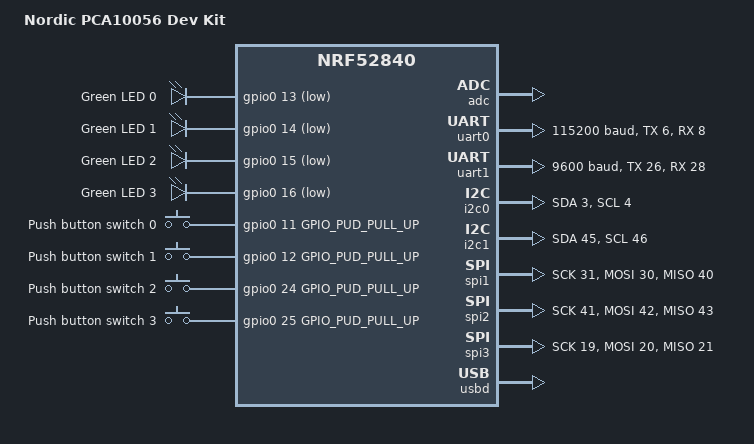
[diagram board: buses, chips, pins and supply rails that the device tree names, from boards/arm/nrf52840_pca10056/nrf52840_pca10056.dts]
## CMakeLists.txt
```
cmake_minimum_required(VERSION 3.8.2)
# Re-direct the directory where the 'boards' directory is found from
# $ZEPHYR_BASE to this directory.
set(BOARD_ROOT ${CMAKE_CURRENT_LIST_DIR})

set(BOARD nrf52840_pca10056)
add_definitions(-DNRFX_PDM_ENABLED=1)
include($ENV{ZEPHYR_BASE}/cmake/app/boilerplate.cmake NO_POLICY_SCOPE)
project(NONE)

# Add all our sources
FILE(GLOB app_sources src/*.c src/mesh/*.c src/bling/*.c src/drivers/ff_i2c.c)
target_sources(app PRIVATE ${app_sources})

# Conditionally add the drivers
zephyr_library_sources_ifdef(CONFIG_AT24C02 src/drivers/at24c02.c)
zephyr_library_sources_ifdef(CONFIG_IQS333 src/drivers/iqs333.c)
zephyr_library_sources_ifdef(CONFIG_IS31FL3741	src/drivers/is31fl3741.c)
zephyr_library_sources_ifdef(CONFIG_FANCYFEAST_USB_MASS_STORAGE	src/drivers/usb_msc.c)
zephyr_library_sources_ifdef(CONFIG_SPI_FLASH_W25QXXDV src/drivers/spi_nor_reset.c)

#Manually add in the PDM driver since Zephyr doesn't quite support this
#zephyr_sources_ifdef(CONFIG_NRFX_PDM    $ENV{ZEPHYR_BASE}/ext/hal/nordic/nrfx/drivers/src/nrfx_pdm.c)

# Add custom target to generate mcuboot image
add_custom_target(sign_bin ../../mcuboot/scripts/imgtool.py sign -k ../../mcuboot/root-rsa-2048.pem --align 8 -H 0x200 --version 23 -S 0xcc000 zephyr/zephyr.bin andnxor_dc27_signed.bin)
add_custom_target(sign arm-none-eabi-objcopy --change-address 0xd000 -I binary -O ihex andnxor_dc27_signed.bin andnxor_dc27_signed.hex)
add_dependencies(sign sign_bin)

# Add custom targets to flash bootloader and signed image
add_custom_target(flash_bootloader nrfjprog --sectorerase --program ../../../provision/fancyfeast_bootloader.hex -f nrf52)
add_custom_target(flash_signed nrfjprog --sectorerase --program andnxor_dc27_signed.hex -f nrf52 -r)
add_custom_target(flash_ocd_signed ../../../tools/openocd/ocd-flash.sh andnxor_dc27_signed.hex)
add_custom_target(kanye nrfjprog --sectorerase --program zephyr/zephyr.hex -f nrf52 -r)
add_custom_target(gdb_server JLinkGDBServer -device NRF52 -if SWD -speed 1000)
add_custom_target(gdb echo "RUN THIS:     arm-none-eabi-gdb -ex "target remote localhost:2331" --se=zephyr/zephyr.elf")
```

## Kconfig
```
mainmenu "AND!XOR DC27 Fancy Feast"

# Your application configuration options go here

menu "AND!XOR"
rsource "src/Kconfig"
rsource "src/drivers/Kconfig"
rsource "src/mesh/Kconfig"
endmenu

# Sources Kconfig.zephyr in the Zephyr root directory.
#
# Note: All 'source' statements work relative to the Zephyr root directory (due
# to the $srctree environment variable being set to $ZEPHYR_BASE). If you want
# to 'source' relative to the current Kconfig file instead, use 'rsource' (or a
# path relative to the Zephyr root).
source "Kconfig.zephyr"
```

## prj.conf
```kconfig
CONFIG_LOG=y
CONFIG_LOG_BACKEND_UART=n
CONFIG_LOG_BUFFER_SIZE=5000
CONFIG_LOG_CMDS=n
CONFIG_LOG_DEFAULT_LEVEL=4
# CONFIG_LOG_INPLACE_PROCESS=n
CONFIG_LOG_PRINTK=y
CONFIG_LOG_ENABLE_FANCY_OUTPUT_FORMATTING=y
# Disable shell control of logs
CONFIG_LOG_RUNTIME_FILTERING=n
CONFIG_USE_SEGGER_RTT=y

CONFIG_BASE64=y
#Needed for mcumgr shell
CONFIG_PRINTK=y
# CONFIG_SHELL_PRINTF_BUFF_SIZE=128
CONFIG_SHELL=y
CONFIG_SHELL_ARGC_MAX=66
CONFIG_SHELL_BACKEND_SERIAL=y
CONFIG_SHELL_BACKEND_SERIAL_LOG_LEVEL_NONE=y
CONFIG_SHELL_BACKEND_SERIAL_RX_RING_BUFFER_SIZE=256
# CONFIG_SHELL_BACKEND_SERIAL_TX_RING_BUFFER_SIZE=1200
CONFIG_SHELL_CMD_BUFF_SIZE=1024
CONFIG_SHELL_CMDS=n
CONFIG_SHELL_CMDS_RESIZE=n
CONFIG_SHELL_PRINTF_BUFF_SIZE=256
CONFIG_SHELL_STACK_SIZE=6000
CONFIG_SHELL_VT100_COLORS=y
CONFIG_SHELL_WILDCARD=n

# CONFIG_OBJECT_TRACING=y
CONFIG_THREAD_MONITOR=y
CONFIG_THREAD_NAME=y
CONFIG_INIT_STACKS=y
CONFIG_THREAD_STACK_INFO=y
CONFIG_BOOT_BANNER=n
CONFIG_BOOTLOADER_MCUBOOT=y
CONFIG_IMG_MANAGER=n

# Kernel Settings
CONFIG_CLOCK_CONTROL_NRF_K32SRC_RC=y
CONFIG_HEAP_MEM_POOL_SIZE=2048
CONFIG_MAIN_STACK_SIZE=4096
CONFIG_SYSTEM_WORKQUEUE_STACK_SIZE=2048
CONFIG_SYS_CLOCK_TICKS_PER_SEC=1000
CONFIG_ENTROPY_NRF5_RNG=y
CONFIG_STATS=y
CONFIG_STATS_NAMES=y
CONFIG_POSIX_API=y
CONFIG_DEVICE_SHELL=n
CONFIG_KERNEL_LOG_LEVEL_OFF=y
CONFIG_KERNEL_SHELL=nfull_path
CONFIG_SCHED_MULTIQ=n
CONFIG_HW_STACK_PROTECTION=n

CONFIG_GPIO=y

#USB related configs
# CONFIG_USB=y
# CONFIG_USB_COMPOSITE_DEVICE=n
# CONFIG_USB_DEVICE_OS_DESC=n
# CONFIG_USB_DEVICE_SOF=n
# CONFIG_USB_DEVICE_STACK=y
# CONFIG_USB_DEVICE_VID=0x049E
# CONFIG_USB_DEVICE_PID=0x1B00
# CONFIG_USB_DEVICE_MANUFACTURER="AND!XOR LLC"
# CONFIG_USB_DEVICE_PRODUCT="AND!XOR Fancy Feast"
# CONFIG_USB_DEVICE_SN="XXXXYYYYZZZZAAAAvVVVV"
# CONFIG_USB_CDC_ACM=n
# CONFIG_USB_DFU_CLASS=y
# CONFIG_CDC_ACM_PORT_NAME="CDC_ACM"
# CONFIG_CDC_ACM_INTERRUPT_EP_MPS=16
# CONFIG_CDC_ACM_BULK_EP_MPS=64

CONFIG_UART_INTERRUPT_DRIVEN=n
CONFIG_UART_LINE_CTRL=y

CONFIG_FLASH=y
CONFIG_FLASH_PAGE_LAYOUT=y
CONFIG_FLASH_MAP=y

# File System
CONFIG_FILE_SYSTEM=y
CONFIG_FILE_SYSTEM_NFFS=y
CONFIG_FILE_SYSTEM_SHELL=n
CONFIG_FAT_FILESYSTEM_ELM=n
CONFIG_FS_LOG_LEVEL_DBG=y
CONFIG_FS_NFFS_FLASH_DEV_NAME="NRF_FLASH_DRV_NAME"

# USB Mass storage
# CONFIG_USB_MASS_STORAGE=y
# CONFIG_MASS_STORAGE_DISK_NAME="NAND"
# CONFIG_USB_MASS_STORAGE_LOG_LEVEL_DBG=y
# CONFIG_MASS_STORAGE_BULK_EP_MPS=64

#Bluetooth
CONFIG_BT=y
CONFIG_BT_ATT_PREPARE_COUNT=2
CONFIG_BT_BROADCASTER=y
CONFIG_BT_CTLR_ADV_EXT=y
CONFIG_BT_CTLR_COMPANY_ID=0x049E
CONFIG_BT_CTLR_DUP_FILTER_LEN=0
CONFIG_BT_CTLR_LE_ENC=n
CONFIG_BT_CTLR_LE_PING=n
CONFIG_BT_CTLR_MIN_USED_CHAN=n
CONFIG_BT_CTLR_PRIVACY=n
CONFIG_BT_CTLR_RX_BUFFERS=6
CONFIG_BT_CTLR_TX_BUFFERS=6
CONFIG_BT_DEBUG_GATT=n
CONFIG_BT_DEBUG_L2CAP=n
CONFIG_BT_DEBUG_LOG=y
CONFIG_BT_DEVICE_NAME="AND!XOR"
CONFIG_BT_HCI=y
CONFIG_BT_HCI_CMD_COUNT=4
CONFIG_BT_HCI_HOST=y
# CONFIG_BT_L2CAP_RX_MTU=69
CONFIG_BT_L2CAP_TX_MTU=260
CONFIG_BT_L2CAP_TX_BUF_COUNT=8
CONFIG_BT_MAX_CONN=1
CONFIG_BT_OBSERVER=y
CONFIG_BT_PERIPHERAL=y
CONFIG_BT_RX_BUF_COUNT=30
CONFIG_BT_RX_BUF_LEN=260
CONFIG_BT_RX_STACK_SIZE=4096
# CONFIG_BT_SETTINGS=y
# CONFIG_BT_SHELL=y

#Bluetooth mesh
CONFIG_BT_MESH=y
CONFIG_BT_MESH_ADV_BUF_COUNT=40
CONFIG_BT_MESH_APP_KEY_COUNT=2
CONFIG_BT_MESH_CFG_CLI=y
CONFIG_BT_MESH_GATT_PROXY=n
CONFIG_BT_MESH_HEALTH_CLI=y
CONFIG_BT_MESH_LABEL_COUNT=3
CONFIG_BT_MESH_MODEL_GROUP_COUNT=2
CONFIG_BT_MESH_MODEL_KEY_COUNT=2
CONFIG_BT_MESH_PB_ADV=n
CONFIG_BT_MESH_PB_GATT=n
CONFIG_BT_MESH_PROXY=n
CONFIG_BT_MESH_RELAY=y
CONFIG_BT_MESH_RX_SDU_MAX=384
CONFIG_BT_MESH_RX_SEG_MSG_COUNT=3
CONFIG_BT_MESH_TX_SEG_MSG_COUNT=3
# SDU is 12 * CONFIG_BT_MESH_TX_SEG_MAX
CONFIG_BT_MESH_TX_SEG_MAX=32
# CONFIG_BT_MESH_SHELL=y
CONFIG_BT_MESH_SUBNET_COUNT=5


# Mesh Debug + Use ID required so MAC is not randomized (at the expense of privacy)
CONFIG_BT_MESH_DEBUG=y
CONFIG_BT_MESH_DEBUG_USE_ID_ADDR=y
# CONFIG_BT_MESH_DEBUG_PROXY=y
# Mesh access debug is the useful one for debugging models
# CONFIG_BT_MESH_DEBUG_ACCESS=y
# CONFIG_BT_MESH_DEBUG_PROV=y
# CONFIG_BT_MESH_DEBUG_BEACON=y
#These generate a TON of logs
# CONFIG_BT_MESH_DEBUG_NET=y
# CONFIG_BT_MESH_DEBUG_TRANS=y
# CONFIG_BT_MESH_DEBUG_SETTINGS=y
# CONFIG_BT_MESH_DEBUG_LOW_POWER=y
# CONFIG_BT_MESH_DEBUG_FRIEND=y
# CONFIG_BT_MESH_DEBUG_MODEL=y
# CONFIG_BT_MESH_DEBUG_CRYPTO=y
# CONFIG_BT_MESH_DEBUG_ADV=y
# CONFIG_BT_MESH_SELF_TEST=y

#I2C
CONFIG_I2C=y
CONFIG_I2C_0=y
CONFIG_I2C_1=y
CONFIG_I2C_NRFX=y
CONFIG_I2C_LOG_LEVEL_OFF=y

# Enable some crypto
CONFIG_MBEDTLS=y

# Enable mcumgr.
CONFIG_MCUMGR=y
CONFIG_MCUMGR_CMD_FS_MGMT=y
CONFIG_MCUMGR_CMD_IMG_MGMT=y
CONFIG_MCUMGR_CMD_OS_MGMT=y
CONFIG_MCUMGR_CMD_STAT_MGMT=y
CONFIG_MCUMGR_SMP_BT=y
# Can't enable until SMP moves to new shell (currently on legacy)
CONFIG_MCUMGR_SMP_SHELL=y
# CONFIG_UART_CONSOLE_MCUMGR=y
# CONFIG_SYSTEM_WORKQUEUE_STACK_SIZE=2048
# MCUMGR Bluetooth support requires a net_buf user_data size >= 7.
CONFIG_NET_BUF_USER_DATA_SIZE=7

# Required by the `taskstat` command.
CONFIG_THREAD_MONITOR=y

#Bloomberg
CONFIG_UART_1_NRF_UARTE=y

#FANCY FEAST Custom Config
CONFIG_AT24C02=y
CONFIG_IQS333=y
CONFIG_LED_RGB_WIDTH=13
CONFIG_LED_RGB_HEIGHT=9
CONFIG_LED_BRIGHTNESS_DEFAULT=50
CONFIG_IS31FL3741=yLOG_
CONFIG_IS31FL3741_SDB_PIN=30
CONFIG_IS31FL3741_I2C_MASTER_DEV_NAME="I2C_1"
CONFIG_CRON_JERB_INTERVAL=70000
CONFIG_ANDNXOR_BLING_TTL=0
CONFIG_ANDNXOR_SOCIAL_TTL=0
CONFIG_ANDNXOR_SPI_NOR=y
```

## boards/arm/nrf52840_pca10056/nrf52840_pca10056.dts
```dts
/*
 * Copyright (c) 2017 Linaro Limited
 *
 * SPDX-License-Identifier: Apache-2.0
 */

/dts-v1/;
#include <nordic/nrf52840_qiaa.dtsi>

/ {
	model = "Nordic PCA10056 Dev Kit";
	compatible = "nordic,pca10056-dk", "nordic,nrf52840-qiaa",
		     "nordic,nrf52840";

	chosen {
		zephyr,console = &uart0;
		zephyr,shell-uart = &uart0;
		zephyr,uart-mcumgr = &uart0;
		zephyr,sram = &sram0;
		zephyr,flash = &flash0;
		zephyr,code-partition = &slot0_partition;
	};

	leds {
		compatible = "gpio-leds";
		led0: led_0 {
			gpios = <&gpio0 13 GPIO_INT_ACTIVE_LOW>;
			label = "Green LED 0";
		};
		led1: led_1 {
			gpios = <&gpio0 14 GPIO_INT_ACTIVE_LOW>;
			label = "Green LED 1";
		};
		led2: led_2 {
			gpios = <&gpio0 15 GPIO_INT_ACTIVE_LOW>;
			label = "Green LED 2";
		};
		led3: led_3 {
			gpios = <&gpio0 16 GPIO_INT_ACTIVE_LOW>;
			label = "Green LED 3";
		};
	};

	buttons {
		compatible = "gpio-keys";
		button0: button_0 {
			gpios = <&gpio0 11 GPIO_PUD_PULL_UP>;
			label = "Push button switch 0";
		};
		button1: button_1 {
			gpios = <&gpio0 12 GPIO_PUD_PULL_UP>;
			label = "Push button switch 1";
		};
		button2: button_2 {
			gpios = <&gpio0 24 GPIO_PUD_PULL_UP>;
			label = "Push button switch 2";
		};
		button3: button_3 {
			gpios = <&gpio0 25 GPIO_PUD_PULL_UP>;
			label = "Push button switch 3";
		};
	};

	/* These aliases are provided for compatibility with samples */
	aliases {
		led0 = &led0;
		led1 = &led1;
		led2 = &led2;
		led3 = &led3;
		sw0 = &button0;
		sw1 = &button1;
		sw2 = &button2;
		sw3 = &button3;
	};
};

&adc {
	status ="ok";
};

&gpiote {
	status ="ok";
};

&gpio0 {
	status ="ok";
};

&gpio1 {
	status ="ok";
};

&uart0 {
	compatible = "nordic,nrf-uart";
	current-speed = <115200>;
	status = "ok";
	tx-pin = <6>;
	rx-pin = <8>;
	rts-pin = <5>;
	cts-pin = <7>;
};

&uart1 {
	compatible = "nordic,nrf-uarte";
	current-speed = <9600>;
	status = "ok";
	tx-pin = <26>;
	rx-pin = <28>;
};

&i2c0 {
	status = "ok";
	sda-pin = <3>;
	scl-pin = <4>;
};

&i2c1 {
	status = "ok";
	sda-pin = <45>;
	scl-pin = <46>;
};

&spi0 {
	status = "disabled";
	sck-pin = <27>;
	mosi-pin = <26>;
	miso-pin = <29>;
};

&spi1 {
	/*status = "ok";*/
	sck-pin = <31>;
	mosi-pin = <30>;
	miso-pin = <40>;
};

&spi2 {
	status = "ok";
	sck-pin = <41>;
	mosi-pin = <42>;
	miso-pin = <43>;
};

&spi3 {
	/*status = "ok";*/
	sck-pin = <19>;
	mosi-pin = <20>;
	miso-pin = <21>;
	cs-gpios = <&gpio0 17 0>;
};

&flash0 {
	/*
	 * For more information, see:
	 * http://docs.zephyrproject.org/latest/guides/dts/index.html#flash-partitions
	 */
	partitions {
		compatible = "fixed-partitions";
		#address-cells = <1>;
		#size-cells = <1>;

		boot_partition: partition@0 {
			label = "mcuboot";
			reg = <0x000000000 0x0000D000>;
		};
		slot0_partition: partition@d000 {
			label = "image-0";
			reg = <0x0000D000 0x0000CC000>;
		};
		slot1_partition: partition@d9000 {
			label = "image-1";
			reg = <0x000D9000 0x000001000>;
		};
		scratch_partition: partition@da000 {
			label = "image-scratch";
			reg = <0x000DA000 0x0001E000>;
		};

		/*
		 * The flash starting at 0x000f8000 and ending at
		 * 0x000fffff is reserved for use by the application.
		 */

		/* Storage partition will be used by FCB/NFFS/NVS if enabled. */
		storage_partition: partition@f8000 {
			label = "storage";
			reg = <0x000f8000 0x00008000>;
		};
	};
};

&usbd {
	compatible = "nordic,nrf-usbd";
	status = "ok";
};
```

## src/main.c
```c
/*****************************************************************************
 * Made with beer and late nights in California.
 *
 * (C) Copyright 2017-2019 AND!XOR LLC (https://andnxor.com/).
 *
 * PROPRIETARY AND CONFIDENTIAL UNTIL AUGUST 11th, 2019 then,
 *
 * Licensed under the Apache License, Version 2.0 (the "License");
 * you may not use this file except in compliance with the License.
 * You may obtain a copy of the License at
 *
 *     http://www.apache.org/licenses/LICENSE-2.0
 *
 * Unless required by applicable law or agreed to in writing, software
 * distributed under the License is distributed on an "AS IS" BASIS,
 * WITHOUT WARRANTIES OR CONDITIONS OF ANY KIND, either express or implied.
 * See the License for the specific language governing permissions and
 * limitations under the License.
 *
 * ADDITIONALLY:
 * If you find this source code useful in anyway, use it in another electronic
 * conference badge, or just think it's neat. Consider buying us a beer
 * (or two) and/or a badge (or two). We are just as obsessed with collecting
 * badges as we are in making them.
 *
 * Contributors:
 * 	@andnxor
 * 	@zappbrandnxor
 * 	@hyr0n1
 * 	@bender_andnxor
 * 	@lacosteaef
 *  @f4nci3
 *  @Cr4bf04m
 *****************************************************************************/
#include <stdio.h>

#include "nrf52840.h"
// #include "nrfx_power.h"
#include <gpio.h>
#include <posix/time.h>
#include <settings/settings.h>
#include <zephyr.h>
#define LOG_LEVEL 4
#include <logging/log.h>
LOG_MODULE_REGISTER(ff_main);

#include "ff_badgebus.h"
#include "ff_bender.h"
#include "ff_bling.h"
#include "ff_gfx.h"
#include "ff_post.h"
#include "ff_settings.h"
#include "ff_shell.h"
#include "ff_time.h"
#include "ff_ui.h"
#include "ff_util.h"
#include "mesh/ff_mesh.h"
#include "mesh/ff_mesh_model_status.h"
#include "system.h"

struct device *gpio;

void main() {
  // Grab GPIO device
  gpio = device_get_binding(SW0_GPIO_CONTROLLER);
  if (!gpio) {
    LOG_ERR("Unable to grab GPIO0 Controller");
    return;
  }

  // Set LEDs as output
  gpio_pin_configure(gpio, LED0_GPIO_PIN, GPIO_DIR_OUT);
  // Turn on to indicate booting
  gpio_pin_write(gpio, LED0_GPIO_PIN, 1);

  // Init BENDER before settings
  ff_bender_init();
  ff_settings_init();

  // Do normal stuff
  ff_gfx_init();
  ff_util_mcumgr_init();

  // Print POST status
  ff_post_dump();

  // Init bling
  ff_bling_init();

  // Run startup script
  ff_shell_rc();

  ////////////////////////////// BADGE IS READY //////////////////////////////

  LOG_INF("AND!XOR DC27 Started %s [%s]", VERSION, BUILD_TIMESTAMP);

  // Turn off to indicate ready
  k_sleep(2000);
  gpio_pin_write(gpio, LED0_GPIO_PIN, 0);

  uint8_t counter = 0;
  while (1) {
    if (ff_post_state_get() != FF_POST_DEFAULT) {
      gpio_pin_write(gpio, LED0_GPIO_PIN, counter % 2);
      k_sleep(100);
    } else {
      // Ensure status LED is off
      gpio_pin_write(gpio, LED0_GPIO_PIN, 0);
      k_sleep(1000);
    }

    counter++;

#ifdef CONFIG_ANDNXOR_TEST_FIRMWARE
  switch(counter % 3) {
    case 0:
    ff_gfx_fill(COLOR_RED);
    ff_gfx_push_buffer();
    break;
    case 1:
    ff_gfx_fill(COLOR_GREEN);
    ff_gfx_push_buffer();
    break;
    case 2:
    ff_gfx_fill(COLOR_BLUE);
    ff_gfx_push_buffer();
    break;
  }
#endif
  }
}

/*
 * Default USB SN string descriptor is CONFIG_USB_DEVICE_SN, but sometimes
 * we want use another string as SN descriptor such as the chip's unique
 * ID. So user can implement this function return a string thats will be
 * replaced the default SN.
 * Please note that the new SN descriptor you changed must has same length
 * as CONFIG_USB_DEVICE_SN.
 */
u8_t *usb_update_sn_string_descriptor(void) {
  uint32_t a0 = NRF_FICR->DEVICEID[0];
  uint32_t a1 = NRF_FICR->DEVICEID[1];
  static char sn[22];
  sprintf(sn, "%08x%08xv%04d", a0, a1, VERSION_INT);
  return sn;
}
```

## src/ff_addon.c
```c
/*****************************************************************************
 * Made with beer and late nights in California.
 *
 * (C) Copyright 2017-2019 AND!XOR LLC (https://andnxor.com/).
 *
 * PROPRIETARY AND CONFIDENTIAL UNTIL AUGUST 11th, 2019 then,
 *
 * Licensed under the Apache License, Version 2.0 (the "License");
 * you may not use this file except in compliance with the License.
 * You may obtain a copy of the License at
 *
 *     http://www.apache.org/licenses/LICENSE-2.0
 *
 * Unless required by applicable law or agreed to in writing, software
 * distributed under the License is distributed on an "AS IS" BASIS,
 * WITHOUT WARRANTIES OR CONDITIONS OF ANY KIND, either express or implied.
 * See the License for the specific language governing permissions and
 * limitations under the License.
 *
 * ADDITIONALLY:
 * If you find this source code useful in anyway, use it in another electronic
 * conference badge, or just think it's neat. Consider buying us a beer
 * (or two) and/or a badge (or two). We are just as obsessed with collecting
 * badges as we are in making them.
 *
 * Contributors:
 * 	@andnxor
 * 	@zappbrandnxor
 * 	@hyr0n1
 * 	@bender_andnxor
 * 	@lacosteaef
 *  @f4nci3
 *  @Cr4bf04m
 *****************************************************************************/
#include <stdlib.h>

#include <device.h>
#include <gpio.h>
#include <shell/shell.h>
#include <zephyr.h>

#define LOG_LEVEL 4
#include <logging/log.h>
LOG_MODULE_REGISTER(ff_addon);

#include "autoconf.h"
#include "bling/ff_bling_bouncing.h"
#include "bling/ff_bling_doom.h"
#include "drivers/at24c02.h"
#include "drivers/is31fl3741.h"
#include "ff_addon.h"
#include "ff_gfx.h"
#include "ff_post.h"
#include "ff_settings.h"
#include "ff_shell.h"
#include "ff_unlocks.h"
#include "system.h"

#define ADDON_DELAY 2000
#define SAO_GPIO_PIN_1 31
#define SAO_GPIO_PIN_2 1

typedef enum {
  addon_state_searching,
  addon_state_init,
  addon_state_running,
  addon_state_done
} addon_state_t;

static addon_state_t m_eeprom_state = addon_state_searching;

// Used for toggling LEDs
static uint8_t m_led_counter = 0;

/**
 * @brief Adjust LED brightness in real time until SAO is removed
 */
static void __addon_audio_adjust_gcc() {
  uint8_t value = 0;
  while (1) {
    if (!at24c02_read_byte(&value, 3)) {

      value = MAX(value, 1);
      value = MIN(value, 16) - 7;
      value *= 10;
      value = MAX(value, 10);

      is31fl3741_gcc_set(value);
      // LOG_DBG("Audio: %d", value);
    } else {
      return;
    }
    k_sleep(200); // Be nice?
  }

  // Restore brightness
  is31fl3741_gcc_set(ff_settings_ptr_get()->brightness);
}

/**
 * @brief Shell command that creates an eeprom
 * @return 0 if successful
 */
static inline int __cmd_addon_provision_eeprom(const struct shell *shell,
                                               size_t argc, char **argv) {
  if (argc == 1) {
    shell_error(shell, "Expected EXTRAS CREATE <command>");
    return -EINVAL;
  }

  uint8_t eeprom_contents[AT24C_SIZE];
  memset(eeprom_contents, 0, AT24C_SIZE);
  eeprom_contents[0] = FF_ADDON_MAGIC_BYTE_DEFCON;
  eeprom_contents[1] = FF_ADDON_MAGIC_BYTE_MAKER;
  eeprom_contents[2] = FF_ADDON_MAGIC_BYTE_TYPE_EEPROM;

  shell_print(shell, "Provisioning with command '%s' len=%d", argv[1],
              strlen(argv[1]));

  // We can store a command using remaining bytes (less null character)
  if (strlen(argv[1]) <= (AT24C_SIZE - 3 - 1)) {
    memcpy(eeprom_contents + 3, argv[1], strlen(argv[1]));
  }

  if (at24c02_write_bytes(0x00, eeprom_contents, AT24C_SIZE)) {
    shell_error(shell, "Unable to write to Addon :(");
    return 0;
  }

  // Read back contents
  memset(eeprom_contents, 0, AT24C_SIZE);
  at24c02_read_all(eeprom_contents);
  for (uint16_t i = 0; i < AT24C_SIZE; i++) {
    shell_fprintf(shell, SHELL_VT100_COLOR_MAGENTA, "0x%02x ",
                  eeprom_contents[i]);
  }
  shell_print(shell, "\nAddon provisioned");

  return 0;
}

/**
 * @brief Shell command that sets the GPIO mode for the SAO
 * FORMAT: EXTRAS MODE <int>
 * @return 0 if successful
 */
static inline int __cmd_addon_mode(const struct shell *shell, size_t argc,
                                   char **argv) {
  if (argc != 2) {
    shell_error(
        shell,
        "Invalid argument(s). Expected EXTRAS MODE <mode> (mode = 0 to 5)");
    return -1;
  }

  uint8_t mode = strtol(argv[1], NULL, 10);
  if (mode >= __addon_gpio_mode_counter) {
    shell_error(
        shell,
        "Invalid argument(s). Expected EXTRAS MODE <mode> (mode = 0 to 5)");
    return -1;
  }

  // Change the mode
  ff_settings_ptr_get()->addon_gpio_mode = mode;
  ff_settings_save();

  shell_print(shell, "GPIO mode set to %d", mode);
  return 0;
}

/**
 * @brief Shell command that dumps contents of a connected eeprom
 * FORMAT: EXTRAS READ
 * @return 0 if successful
 */
static inline int __cmd_addon_read_eeprom(const struct shell *shell,
                                          size_t argc, char **argv) {
  if (argc != 1) {
    shell_error(shell, "Invalid Argument(s)");
    return -1;
  }

  // Read full eeprom contents, quit if not found
  uint8_t buf[256];
  if (at24c02_read_all(buf)) {
    shell_error(shell, "EEPROM not found :(");
    return -1;
  }

  // Dump eeprom contents to shell
  for (uint16_t i = 0; i < 256; i += 16) {
    shell_fprintf(shell, SHELL_NORMAL, "%08X  ", i);

    for (uint16_t ii = i; ii < i + 16; ii++) {
      shell_fprintf(shell, SHELL_NORMAL, "%02X ", buf[ii]);
    }

    shell_fprintf(shell, SHELL_NORMAL, "  ");

    for (uint16_t ii = i; ii < i + 16; ii++) {
      shell_fprintf(shell, SHELL_NORMAL, "%c",
                    buf[ii] < 32 || buf[ii] > 127 ? '.' : buf[ii]);
    }

    shell_fprintf(shell, SHELL_NORMAL, "\r\n");
  }

  return 0;
}

/**
 * @brief Shell command that writes an arbitrary byte to the eeprom
 * FORMAT: EXTRAS WRITE <address> <byte hex>
 * @return 0 if successful
 */
static inline int __cmd_addon_write_eeprom(const struct shell *shell,
                                           size_t argc, char **argv) {
  if (argc != 3) {
    shell_error(
        shell,
        "Invalid Argument(s), expected EXTRAS WRITE <address hex> <byte hex>");
    return -1;
  }

  uint8_t address = strtol(argv[1], NULL, 16);
  uint8_t byte = strtol(argv[2], NULL, 16);

  int err = at24c02_write_byte(address, byte);
  if (!err) {
    shell_print(shell, "Wrote 0x%02x to 0x%02x in the EEPROM", byte, address);
  } else {
    shell_error(shell, "Unable to write to EEPROM");
  }
  return err;
}

/**
 * @brief Run a single step in the eeprom state machine
 */
static inline void __state_machine_eeprom() {
  uint8_t magic[3];
  uint8_t eeprom_contents[AT24C_SIZE];

  switch (m_eeprom_state) {
    // Search for eeprom
  case addon_state_searching:
    if (at24c02_read(&magic[0])) {
      // LOG_DBG("Unable to find eeprom, still searching");
    } else {
      LOG_DBG("eeprom found!");

      // Read rest of magic data
      k_sleep(1);
      at24c02_read_byte(&magic[1], 1);
      k_sleep(1);
      at24c02_read_byte(&magic[2], 2);

      LOG_HEXDUMP_DBG(magic, 3, "Magic");

      // If we got this far, magic byte header was found
      // This is an AND!XOR SAO
      if (magic[0] == FF_ADDON_MAGIC_BYTE_DEFCON &&
          magic[1] == FF_ADDON_MAGIC_BYTE_MAKER) {
        switch (magic[2]) {
        case FF_ADDON_MAGIC_BYTE_TYPE_EEPROM:
          LOG_INF("EEPROM SAO Found!");
          LOG_DBG("Switching to init state");
          m_eeprom_state = addon_state_init;

          ff_gfx_draw_line(0, 0, WIDTH, 0, COLOR_ORANGE);
          ff_gfx_draw_line(0, HEIGHT - 1, WIDTH, HEIGHT - 1, COLOR_BLUE);
          ff_gfx_push_buffer();
          k_sleep(200);
          break;
        case FF_ADDON_MAGIC_BYTE_TYPE_AUDIO:
          LOG_INF("Audio Reactive SAO Found!");
          ff_gfx_draw_line(0, 0, WIDTH, 0, COLOR_YELLOW);
          ff_gfx_draw_line(0, HEIGHT - 1, WIDTH, HEIGHT - 1, COLOR_YELLOW);
          ff_gfx_push_buffer();
          k_sleep(200);

          if (!FF_UNLOCK_VALIDATE(FF_UNLOCK_AUDIO)) {
            FF_UNLOCK_SET(FF_UNLOCK_AUDIO);
            FF_BLING_DEFAULT_BOUNCING(bling);
            ff_bling_mode_register(bling, ff_bling_handler_bouncing);
            ff_bling_mode_push(bling);
            ff_gfx_fill(COLOR_YELLOW);
            ff_gfx_push_buffer();
            k_sleep(3000);
          }

          // Block addon thread to adjust gcc in near-realtime
          __addon_audio_adjust_gcc();
          break;
        case FF_ADDON_MAGIC_BYTE_TYPE_BENDER:
          break;
        }
      }

      else if (magic[0] == FF_ADDON_MAGIC_BYTE_DEFCON &&
               magic[1] == FF_ADDON_MAGIC_BYTE_MAKER_CR4BF04M) {
        switch (magic[2]) {
        case FF_ADDON_MAGIC_BYTE_TYPE_DOOM:;
          FF_BLING_DEFAULT_DOOM(doom);
          ff_bling_mode_push(doom);
          m_eeprom_state = addon_state_running;
          break;
        }
      }
    }
    break;

  // Initialize the addon
  case addon_state_init:
    ff_gfx_draw_line(0, 0, WIDTH, 0, COLOR_BLACK);
    ff_gfx_draw_line(0, HEIGHT - 1, WIDTH, HEIGHT - 1, COLOR_BLACK);
    ff_gfx_push_buffer();

    if (!at24c02_read_all(eeprom_contents)) {
      // Success
      LOG_DBG("Running '%s'", eeprom_contents + 3);
      ff_shell_execute(eeprom_contents + 3);
      m_eeprom_state = addon_state_running;
    } else {
      LOG_DBG("Going back to searching");
      m_eeprom_state = addon_state_searching;
    }

    // for (uint16_t i = 0; i <= 255; i++) {
    //   at24c02_write_byte(i, i);
    // }
    // if (!at24c02_read_all(eeprom_contents)) {
    //   LOG_HEXDUMP_DBG(eeprom_contents, AT24C02_SIZE, "EEPROM");
    // }
    break;

  case addon_state_running:;
    // Grab GPIO device
    struct device *gpio = device_get_binding(SW0_GPIO_CONTROLLER);
    if (gpio) {
      // Ensure addon gpio mode is valid
      if (ff_settings_ptr_get()->addon_gpio_mode >= __addon_gpio_mode_counter) {
        ff_settings_ptr_get()->addon_gpio_mode = addon_gpio_mode_alternating;
      }

      // Do the GPIO mode
      switch (ff_settings_ptr_get()->addon_gpio_mode) {
      case addon_gpio_mode_alternating:
      case addon_gpio_mode_rager:
        gpio_pin_write(gpio, SAO_GPIO_PIN_1, (m_led_counter + 1) % 2);
        gpio_pin_write(gpio, SAO_GPIO_PIN_2, m_led_counter % 2);
        m_led_counter++;
        break;
      case addon_gpio_mode_both:
        gpio_pin_write(gpio, SAO_GPIO_PIN_1, 1);
        gpio_pin_write(gpio, SAO_GPIO_PIN_2, 1);
        break;
      case addon_gpio_mode_off:
        gpio_pin_write(gpio, SAO_GPIO_PIN_1, 0);
        gpio_pin_write(gpio, SAO_GPIO_PIN_2, 0);
        break;
      case addon_gpio_mode_on_1:
        gpio_pin_write(gpio, SAO_GPIO_PIN_1, 1);
        gpio_pin_write(gpio, SAO_GPIO_PIN_2, 0);
        break;
      case addon_gpio_mode_on_2:
        gpio_pin_write(gpio, SAO_GPIO_PIN_1, 0);
        gpio_pin_write(gpio, SAO_GPIO_PIN_2, 1);
        break;
      case __addon_gpio_mode_counter:
        // NOP
        break;
      }
    }

    // Test if eeprom is still there
    if (at24c02_read(&magic[0])) {
      LOG_DBG("EEPROM Removed returning to searching");
      m_eeprom_state = addon_state_searching;
    }
    break;
  case addon_state_done:
    // TODO:
    break;
  }
}

/**
 * @brief Background task that manages addon states
 */
static void __addon_task() {
  struct device *gpio = device_get_binding(SW0_GPIO_CONTROLLER);
  if (gpio) {
    gpio_pin_configure(gpio, SAO_GPIO_PIN_1, GPIO_DIR_OUT);
    gpio_pin_configure(gpio, SAO_GPIO_PIN_2, GPIO_DIR_OUT);
  }

  while (1) {
    // Run each state machine
    __state_machine_eeprom();
    if (ff_settings_ptr_get()->addon_gpio_mode == addon_gpio_mode_rager) {
      k_sleep(ADDON_DELAY / 40);
    } else {
      k_sleep(ADDON_DELAY);
    }
  }
}

K_THREAD_DEFINE(addon, 6000, __addon_task, NULL, NULL, NULL,
                FF_THREAD_PRIORITY_MEDIUM, 0, 2000);

SHELL_STATIC_SUBCMD_SET_CREATE(
    sub_addon,
    SHELL_CMD(CREATE, NULL, "WRITE SHELL COMMAND 2 EEPROM K",
              __cmd_addon_provision_eeprom),
    SHELL_CMD(MODE, NULL, "READ DA EEPROM K", __cmd_addon_mode),
    SHELL_CMD(READ, NULL, "READ DA EEPROM K", __cmd_addon_read_eeprom),
    SHELL_CMD(WRITE, NULL, "WRITE 2 EEPROM K", __cmd_addon_write_eeprom),
    SHELL_SUBCMD_SET_END);

SHELL_CMD_REGISTER(EXTRAS, &sub_addon, "SAO COMMANDZ", NULL);
```

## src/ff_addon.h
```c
/*****************************************************************************
 * Made with beer and late nights in California.
 *
 * (C) Copyright 2017-2019 AND!XOR LLC (https://andnxor.com/).
 *
 * PROPRIETARY AND CONFIDENTIAL UNTIL AUGUST 11th, 2019 then,
 *
 * Licensed under the Apache License, Version 2.0 (the "License");
 * you may not use this file except in compliance with the License.
 * You may obtain a copy of the License at
 *
 *     http://www.apache.org/licenses/LICENSE-2.0
 *
 * Unless required by applicable law or agreed to in writing, software
 * distributed under the License is distributed on an "AS IS" BASIS,
 * WITHOUT WARRANTIES OR CONDITIONS OF ANY KIND, either express or implied.
 * See the License for the specific language governing permissions and
 * limitations under the License.
 *
 * ADDITIONALLY:
 * If you find this source code useful in anyway, use it in another electronic
 * conference badge, or just think it's neat. Consider buying us a beer
 * (or two) and/or a badge (or two). We are just as obsessed with collecting
 * badges as we are in making them.
 *
 * Contributors:
 * 	@andnxor
 * 	@zappbrandnxor
 * 	@hyr0n1
 * 	@bender_andnxor
 * 	@lacosteaef
 *  @f4nci3
 *  @Cr4bf04m
 *****************************************************************************/

#ifndef FF_ADDON_H
#define FF_ADDON_H

#define FF_ADDON_MAGIC_BYTE_INDEX 0x00
#define FF_ADDON_MAGIC_BYTE_DEFCON 0x1B
#define FF_ADDON_MAGIC_BYTE_MAKER 0x49
#define FF_ADDON_MAGIC_BYTE_MAKER_CR4BF04M 0x05

#define FF_ADDON_MAGIC_BYTE_TYPE_AUDIO 0xAD
#define FF_ADDON_MAGIC_BYTE_TYPE_BENDER 0xBE 
#define FF_ADDON_MAGIC_BYTE_TYPE_DOOM 0x01
#define FF_ADDON_MAGIC_BYTE_TYPE_EEPROM 0x66 

typedef enum {
  addon_gpio_mode_alternating,
  addon_gpio_mode_off,
  addon_gpio_mode_on_1,
  addon_gpio_mode_on_2,
  addon_gpio_mode_both,
  addon_gpio_mode_rager,
  __addon_gpio_mode_counter
} addon_gpio_mode_t;

#endif
```

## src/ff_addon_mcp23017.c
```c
/*****************************************************************************
 * Made with beer and late nights in California.
 *
 * (C) Copyright 2017-2019 AND!XOR LLC (https://andnxor.com/).
 *
 * PROPRIETARY AND CONFIDENTIAL UNTIL AUGUST 11th, 2019 then,
 *
 * Licensed under the Apache License, Version 2.0 (the "License");
 * you may not use this file except in compliance with the License.
 * You may obtain a copy of the License at
 *
 *     http://www.apache.org/licenses/LICENSE-2.0
 *
 * Unless required by applicable law or agreed to in writing, software
 * distributed under the License is distributed on an "AS IS" BASIS,
 * WITHOUT WARRANTIES OR CONDITIONS OF ANY KIND, either express or implied.
 * See the License for the specific language governing permissions and
 * limitations under the License.
 *
 * ADDITIONALLY:
 * If you find this source code useful in anyway, use it in another electronic
 * conference badge, or just think it's neat. Consider buying us a beer
 * (or two) and/or a badge (or two). We are just as obsessed with collecting
 * badges as we are in making them.
 *
 * Contributors:
 * 	@andnxor
 * 	@zappbrandnxor
 * 	@hyr0n1
 * 	@bender_andnxor
 * 	@lacosteaef
 *  @f4nci3
 *  @Cr4bf04m
 *****************************************************************************/
#include "i2c.h"
#include "zephyr.h"
#define LOG_LEVEL 4
#include <logging/log.h>
LOG_MODULE_REGISTER(ff_addon_mcp23017);

#include "drivers/ff_i2c.h"
#include "ff_util.h"
#include "system.h"

#define ADDONS_ANIMATION_TIME (60 * 1000)
#define ADDON_I2C_ADDRESS_7B 0x20

// MCP23017 registers assuming BANK=1
#define MCP23017_REG_IODIRA 0x00
#define MCP23017_REG_IODIRB 0x01
// Ports A and B GPIO latch state (aka output)
#define MCP23017_REG_OLATA 0x14
#define MCP23017_REG_OLATB 0x15

struct device *i2c;

#define TRANSITION                                                             \
  if (ff_util_millis() >= transition_time) {                                   \
    m_state = (m_state + 1) % addon_state_count;                               \
    transition_time = ff_util_millis() + ADDONS_ANIMATION_TIME;                \
  }

/**
 * @brief Helper macro that writes to PORT A of the MCP23017 device
 */
#define WRITE_PORTA(value)                                                     \
  ff_i2c_take();                                                               \
  if (i2c_reg_write_byte(i2c, ADDON_I2C_ADDRESS_7B, MCP23017_REG_OLATA,        \
                         value)) {                                             \
    LOG_ERR("Unable to write to MCP23017 PORTA [%d]", value);                  \
    m_state = addon_state_searching;                                           \
  }                                                                            \
  ff_i2c_give();

/**
 * @brief Helper macro that writes to PORT B of the MCP23017 device
 */
#define WRITE_PORTB(value)                                                     \
  ff_i2c_take();                                                               \
  if (i2c_reg_write_byte(i2c, ADDON_I2C_ADDRESS_7B, MCP23017_REG_OLATB,        \
                         value)) {                                             \
    LOG_ERR("Unable to write to MCP23017 PORTB [%d]", value);                  \
    m_state = addon_state_searching;                                           \
  }                                                                            \
  ff_i2c_give();

// Define states for the addon FSM
typedef enum {
  addon_state_chase,
  addon_state_chase2,
  addon_state_kitt,
  addon_state_random,
  addon_state_count,
  addon_state_searching,
  addon_state_stopped
} addon_state_t;

static addon_state_t m_state = addon_state_searching;

void __addon_task() {
  int8_t direction = 1;
  uint8_t index = 0;
  uint32_t transition_time = 0;

  m_state = addon_state_searching;
  i2c = device_get_binding(CONFIG_AT24C02_I2C_MASTER_DEV_NAME);

  while (1) {

    switch (m_state) {
    // Searching for an addon
    case addon_state_searching:

      k_sleep(2000);

      // This assumes POR which sets BANK to 0

      // Write to DIRA register
      int result = i2c_reg_write_byte(i2c, ADDON_I2C_ADDRESS_7B,
                                      MCP23017_REG_IODIRA, 0x00);
      // Found an addon, transition to chase animation
      if (result == 0) {
        k_sleep(50);
        // Port B DIRB write was a success, let's try Port B DIRB
        if (i2c_reg_write_byte(i2c, ADDON_I2C_ADDRESS_7B, MCP23017_REG_IODIRB,
                               0x00) == 0) {
          // That worked, start animating
          m_state = addon_state_chase2;
          transition_time = ff_util_millis() + ADDONS_ANIMATION_TIME;
        }
      }
      break;

    // Chase animation mode
    case addon_state_chase:
      k_sleep(50);
      WRITE_PORTA((uint8_t)(1 << index));
      WRITE_PORTB((uint8_t)(1 << index));
      index = (index + 1) % 8;
      TRANSITION;
      break;

    // Chase animation mode, but more extreme
    case addon_state_chase2:
      k_sleep(30);
      WRITE_PORTA((uint8_t)(1 << index));
      WRITE_PORTB((uint8_t)(1 << index));

      if (direction < 0) {
        if (index > 0) {
          index--;
        } else {
          index = 7;
        }
        if (sys_rand32_get() % 100 < 4) {
          direction = 1;
        }
      } else {
        index = (index + 1) % 8;
        if (sys_rand32_get() % 100 < 4) {
          direction = -1;
        }
      }

      TRANSITION;
      break;

      // Kit wiping back and forth
    case addon_state_kitt:
      k_sleep(70);

      switch (index) {
      case 0:
        WRITE_PORTA(0x7E);
        WRITE_PORTB(0x00);
        break;
      case 1:
        WRITE_PORTA(0x81);
        WRITE_PORTB(0x00);
        break;
      case 2:
        WRITE_PORTA(0x00);
        WRITE_PORTB(0x81);
        break;
      case 3:
        WRITE_PORTA(0x00);
        WRITE_PORTB(0x42);
        break;
      case 4:
        WRITE_PORTA(0x00);
        WRITE_PORTB(0x24);
        break;
      case 5:
        WRITE_PORTA(0x00);
        WRITE_PORTB(0x08);
        break;
      case 6:
        WRITE_PORTA(0x00);
        WRITE_PORTB(0x10);
        break;
      }
      if (direction > 0) {
        index++;
        if (index >= 7) {
          direction = -1;
          index = 6;
        }
      } else {
        if (index > 0) {
          index--;
        } else {
          index = 0;
          direction = 1;
        }
      }
      TRANSITION;
      break;

    // Random LED mode
    case addon_state_random:
      k_sleep(100);
      uint32_t rand = sys_rand32_get();
      WRITE_PORTA(rand & 0xFF);
      WRITE_PORTB((rand >> 8) & 0xFF);
      TRANSITION;
      break;

    // Do nothing
    case addon_state_stopped:
      k_sleep(100);
      break;

    // Should never get here but if it does go back to searching mode
    case addon_state_count:
      m_state = addon_state_searching;
      break;
    }
  }
}

K_THREAD_DEFINE(mcp23017, 2048, __addon_task, NULL, NULL, NULL,
                FF_THREAD_PRIORITY_MEDIUM, 0, 2000);
```

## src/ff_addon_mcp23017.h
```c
/*****************************************************************************
 * Made with beer and late nights in California.
 *
 * (C) Copyright 2017-2019 AND!XOR LLC (https://andnxor.com/).
 *
 * PROPRIETARY AND CONFIDENTIAL UNTIL AUGUST 11th, 2019 then,
 *
 * Licensed under the Apache License, Version 2.0 (the "License");
 * you may not use this file except in compliance with the License.
 * You may obtain a copy of the License at
 *
 *     http://www.apache.org/licenses/LICENSE-2.0
 *
 * Unless required by applicable law or agreed to in writing, software
 * distributed under the License is distributed on an "AS IS" BASIS,
 * WITHOUT WARRANTIES OR CONDITIONS OF ANY KIND, either express or implied.
 * See the License for the specific language governing permissions and
 * limitations under the License.
 *
 * ADDITIONALLY:
 * If you find this source code useful in anyway, use it in another electronic
 * conference badge, or just think it's neat. Consider buying us a beer
 * (or two) and/or a badge (or two). We are just as obsessed with collecting
 * badges as we are in making them.
 *
 * Contributors:
 * 	@andnxor
 * 	@zappbrandnxor
 * 	@hyr0n1
 * 	@bender_andnxor
 * 	@lacosteaef
 *  @f4nci3
 *  @Cr4bf04m
 *****************************************************************************/

#ifndef FF_ADDON_MCP23017_H
#define FF_ADDON_MCP23017_H

#endif
```

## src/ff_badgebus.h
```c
/*****************************************************************************
 * Made with beer and late nights in California.
 *
 * (C) Copyright 2017-2019 AND!XOR LLC (https://andnxor.com/).
 *
 * PROPRIETARY AND CONFIDENTIAL UNTIL AUGUST 11th, 2019 then,
 *
 * Licensed under the Apache License, Version 2.0 (the "License");
 * you may not use this file except in compliance with the License.
 * You may obtain a copy of the License at
 *
 *     http://www.apache.org/licenses/LICENSE-2.0
 *
 * Unless required by applicable law or agreed to in writing, software
 * distributed under the License is distributed on an "AS IS" BASIS,
 * WITHOUT WARRANTIES OR CONDITIONS OF ANY KIND, either express or implied.
 * See the License for the specific language governing permissions and
 * limitations under the License.
 *
 * ADDITIONALLY:
 * If you find this source code useful in anyway, use it in another electronic
 * conference badge, or just think it's neat. Consider buying us a beer
 * (or two) and/or a badge (or two). We are just as obsessed with collecting
 * badges as we are in making them.
 *
 * Contributors:
 * 	@andnxor
 * 	@zappbrandnxor
 * 	@hyr0n1
 * 	@bender_andnxor
 * 	@lacosteaef
 *  @f4nci3
 *  @Cr4bf04m
 *****************************************************************************/
#ifndef FF_BADGEBUS_H
#define FF_BADGEBUS_H

#define BADGEBUS_MID_ANDNXOR 0x049E
#define BADGEBUS_MIDH_ANDNXOR "AND!XOR"
#define BADGEBUS_BID_DC27 0x2700
#define BADGEBUS_BIDH_DC27 "DC27 Human"
#define BADBEBUS_GCN_HUMAN "LOL!"
#define BADGEBUS_STATUS_HUMAN "Never giving up"
/*
Available baud rates. This command returns a 1 byte packet that is a bit field
of supported baud rates of the slave. The bit values MSB to LSB are: N/A,
256000, 128000, 115200, 57600, 38400, 19200, 14400. The master badge uses this
list to find the highest common denominator to for baud rate switching. If all
bits are clear only 9600 baud is supported.
*/
#define BADBEBUS_BAUD_RATE_BITMASK 0b00010000

// #define BADGEBUS_OK 0
// #define BADGEBUS_ERROR_UNKNOWN -1
// #define BADGEBUS_ERROR_INVALID -2
// #define BADGEBUS_ERROR_INVALID_SYNC -3
// #define BADGEBUS_ERROR_INVALID_HEADER -4
// #define BADGEBUS_ERROR_INVALID_CMD -5

#define BADGEBUS_SYNC_BYTE 0x55
#define BADGEBUS_HEADER_BYTE 0x42

// Minimum length of a badgebus packet
// Sync = 2B, Header = 2B, status = 1B, command = 1B, length = 1B, payload = nB,
// CRC = 2B
#define BADGEBUS_MIN_LENGTH 9
#define BADGEBUS_MAX_LENGTH (BADGEBUS_MIN_LENGTH + 255)

#define BADGEBUS_OFFSET_STATUS 4
#define BADGEBUS_OFFSET_CMD 5
#define BADGEBUS_OFFSET_LENGTH 6
#define BADGEBUS_OFFSET_DATA 7

#define BADGEBUS_CMD_MAKER_ID 0x00
#define BADGEBUS_CMD_BADGE_ID 0x01
#define BADGEBUS_CMD_MAKER_ID_HUMAN_READABLE 0x03
#define BADGEBUS_CMD_BADGE_ID_HUMAN_READABLE 0x04
#define BADGEBUS_CMD_BADGE_SERIAL_NUMBER 0x05
#define BADGEBUS_CMD_GENERIC_CONTROL 0x06
#define BADGEBUS_CMD_GENERIC_STATUS 0x07
#define BADGEBUS_CMD_GENERIC_CONTROL_HUMAN_READABLE 0x08
#define BADGEBUS_CMD_GENERIC_STATUS_HUMAN_READABLE 0x09
#define BADGEBUS_CMD_AVAILABLE_BAUD_RATES 0x0A
#define BADGEBUS_CMD_SET_BAUD_RATE 0x0B

// Custom badgebus commands
#define BADGEBUS_CMD_CUSTOM_BLING 0x80

#define BADGEBUS_STATUS_LONG_MASK 0b00000001
#define BADGEBUS_STATUS_LONG2_MASK 0b00000010
#define BADGEBUS_STATUS_CHECKSUM_MASK 0b00000100
#define BADGEBUS_STATUS_CMD_MASK 0b00001000
#define BADGEBUS_STATUS_DATA_MASK 0b00010000
#define BADGEBUS_STATUS_RESPONSE_MASK 0b01000000
#define BADGEBUS_STATUS_CRC_MASK 0b10000000

/**
 * @brief Handle a badgebus message as a slave
 * @param p_packet				Pointer to packet data
 * @param length				Length of data in the packet
 * @param p_response 			Buffer for response from slave
 * @param response_buff_size 	Length of buffer to use for response
 * @return Size of response, negative value if error
 */
extern int32_t ff_badgebus_handle(uint8_t *p_packet, size_t length,
                                  uint8_t *p_response,
                                  size_t response_buff_size);

extern void ff_badgebus_test();

#endif
```

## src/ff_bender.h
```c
/*****************************************************************************
 * Made with beer and late nights in California.
 *
 * (C) Copyright 2017-2019 AND!XOR LLC (https://andnxor.com/).
 *
 * PROPRIETARY AND CONFIDENTIAL UNTIL AUGUST 11th, 2019 then,
 *
 * Licensed under the Apache License, Version 2.0 (the "License");
 * you may not use this file except in compliance with the License.
 * You may obtain a copy of the License at
 *
 *     http://www.apache.org/licenses/LICENSE-2.0
 *
 * Unless required by applicable law or agreed to in writing, software
 * distributed under the License is distributed on an "AS IS" BASIS,
 * WITHOUT WARRANTIES OR CONDITIONS OF ANY KIND, either express or implied.
 * See the License for the specific language governing permissions and
 * limitations under the License.
 *
 * ADDITIONALLY:
 * If you find this source code useful in anyway, use it in another electronic
 * conference badge, or just think it's neat. Consider buying us a beer
 * (or two) and/or a badge (or two). We are just as obsessed with collecting
 * badges as we are in making them.
 *
 * Contributors:
 * 	@andnxor
 * 	@zappbrandnxor
 * 	@hyr0n1
 * 	@bender_andnxor
 * 	@lacosteaef
 *  @f4nci3
 *  @Cr4bf04m
 *****************************************************************************/
#ifndef FF_BENDER_H
#define FF_BENDER_H

/**
 * @brief Initialize the B.E.N.D.E.R. console
 */
extern void ff_bender_init();

#define LOG_LEVEL 4

#define CONSOLE_PHONE_NUM "805-203-6888"

//Yep, doesn't add to 100. That will be a fun thing to find out.
#define PERCENTAGE_H_HACK 15
#define PERCENTAGE_N_HACK 15
#define PERCENTAGE_S_HACK 15
#define PERCENTAGE_E_HACK 15
#define PERCENTAGE_W_HACK 15
#define PERCENTAGE_H_EGG 4
#define PERCENTAGE_N_EGG 4
#define PERCENTAGE_S_EGG 4
#define PERCENTAGE_E_EGG 4
#define PERCENTAGE_W_EGG 4

#define HOME_AREA_ITEM "BOTTLE_OPENER"						// ITEM 0
#define HOME_AREA_BEER "BALLAST_POINT_SOUR_WENCH"			// BEER 0
#define HOME_AREA_WINZ "NOTHING"							// WINZ 0 - There is no item to pickup once the game is over
#define NORTH_AREA_ITEM "FLOPPY_DISK"						// ITEM 1
#define NORTH_AREA_BEER "KEYSTONE_LIGHT"					// BEER 1
#define NORTH_AREA_WINZ "USB_CONDOM"						// WINZ 1
#define SOUTH_AREA_ITEM "LOCK_PICK"							// ITEM 2
#define SOUTH_AREA_BEER "SOUTHERN_STAR_CONSPIRACY_THEORY"	// BEER 2
#define SOUTH_AREA_WINZ "PAPER_CLIP"						// WINZ 2
#define EAST_AREA_ITEM "TAPE_PUNCH"							// ITEM 3
#define EAST_AREA_BEER "CASCADE_BOURBONIC_PLAGUE_2016"		// BEER 3
#define EAST_AREA_WINZ "WIRE"								// WINZ 3
#define WEST_AREA_ITEM "GRAIN_OF_RICE"						// ITEM 4
#define WEST_AREA_BEER "MODERN_TIMES_FRUITLANDS"			// BEER 4
#define WEST_AREA_WINZ "STARSAN"							// WINZ 4
#define BEER_0_ABV 0.070 
#define BEER_1_ABV 0.041
#define BEER_2_ABV 0.071
#define BEER_3_ABV 0.105
#define BEER_4_ABV 0.048

typedef struct{ 
    char name[33];
    bool haz;
	bool booze;
	uint8_t location;
	float booze_volume;
	float booze_ABV;
}item_t;

typedef struct{
	uint8_t location;
	uint8_t attempts[5];
	int weight;
	float BAC;
	int first_drink;
	char gender;
	bool location_solved[2][5]; //ROW 0=MainPuzzle, 1=EasterEgg, COL = Locations
	item_t l00t[3][5]; //ROW 0=Freebie Item, 1=Awarded Item, 2=B00Z3, COL = Locations
	uint8_t percentage_complete;
	bool su;
}bender_data_t;

/**
 * @brief Generate a BENDER score as a bitmask
 */
extern uint16_t ff_bender_score_get();

#endif
```

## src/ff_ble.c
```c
/*****************************************************************************
 * Made with beer and late nights in California.
 *
 * (C) Copyright 2017-2019 AND!XOR LLC (https://andnxor.com/).
 *
 * PROPRIETARY AND CONFIDENTIAL UNTIL AUGUST 11th, 2019 then,
 *
 * Licensed under the Apache License, Version 2.0 (the "License");
 * you may not use this file except in compliance with the License.
 * You may obtain a copy of the License at
 *
 *     http://www.apache.org/licenses/LICENSE-2.0
 *
 * Unless required by applicable law or agreed to in writing, software
 * distributed under the License is distributed on an "AS IS" BASIS,
 * WITHOUT WARRANTIES OR CONDITIONS OF ANY KIND, either express or implied.
 * See the License for the specific language governing permissions and
 * limitations under the License.
 *
 * ADDITIONALLY:
 * If you find this source code useful in anyway, use it in another electronic
 * conference badge, or just think it's neat. Consider buying us a beer
 * (or two) and/or a badge (or two). We are just as obsessed with collecting
 * badges as we are in making them.
 *
 * Contributors:
 * 	@andnxor
 * 	@zappbrandnxor
 * 	@hyr0n1
 * 	@bender_andnxor
 * 	@lacosteaef
 *  @f4nci3
 *  @Cr4bf04m
 *****************************************************************************/
#include <bluetooth/bluetooth.h>
#include <init.h>
#include <zephyr.h>

#define LOG_LEVEL 4
#include <logging/log.h>
LOG_MODULE_REGISTER(ff_ble);

#include "ff_ble.h"
#include "system.h"
#include "mesh/ff_mesh.h"

/**
 * @brief Initialize all things BLE for the badge
 * @param dev	The device for the module, not sure why we need this here
 * @return Result to the init
 */
static int __ble_init(struct device *dev) {
  int err = bt_enable(ff_mesh_init);
  if (err) {
    LOG_ERR("Bluetooth init failed [%d]", err);
    return -1;
  }

  return 0;
}

SYS_INIT(__ble_init, APPLICATION, SYSTEM_INIT_PRIORITY_BLE);
```

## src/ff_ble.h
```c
/*****************************************************************************
 * Made with beer and late nights in California.
 *
 * (C) Copyright 2017-2019 AND!XOR LLC (https://andnxor.com/).
 *
 * PROPRIETARY AND CONFIDENTIAL UNTIL AUGUST 11th, 2019 then,
 *
 * Licensed under the Apache License, Version 2.0 (the "License");
 * you may not use this file except in compliance with the License.
 * You may obtain a copy of the License at
 *
 *     http://www.apache.org/licenses/LICENSE-2.0
 *
 * Unless required by applicable law or agreed to in writing, software
 * distributed under the License is distributed on an "AS IS" BASIS,
 * WITHOUT WARRANTIES OR CONDITIONS OF ANY KIND, either express or implied.
 * See the License for the specific language governing permissions and
 * limitations under the License.
 *
 * ADDITIONALLY:
 * If you find this source code useful in anyway, use it in another electronic
 * conference badge, or just think it's neat. Consider buying us a beer
 * (or two) and/or a badge (or two). We are just as obsessed with collecting
 * badges as we are in making them.
 *
 * Contributors:
 * 	@andnxor
 * 	@zappbrandnxor
 * 	@hyr0n1
 * 	@bender_andnxor
 * 	@lacosteaef
 *  @f4nci3
 *  @Cr4bf04m
 *****************************************************************************/

#ifndef FF_BLE_H
#define FF_BLE_H

#endif
```
